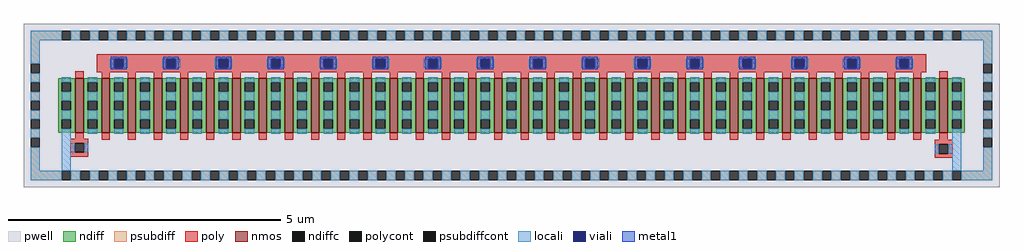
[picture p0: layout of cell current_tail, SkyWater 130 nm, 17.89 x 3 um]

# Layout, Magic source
magic
tech sky130A
magscale 1 2
<< pwell >>
rect -1789 -300 1789 300
<< nmos >>
rect -1599 -100 -1569 100
rect -1503 -100 -1473 100
rect -1407 -100 -1377 100
rect -1311 -100 -1281 100
rect -1215 -100 -1185 100
rect -1119 -100 -1089 100
rect -1023 -100 -993 100
rect -927 -100 -897 100
rect -831 -100 -801 100
rect -735 -100 -705 100
rect -639 -100 -609 100
rect -543 -100 -513 100
rect -447 -100 -417 100
rect -351 -100 -321 100
rect -255 -100 -225 100
rect -159 -100 -129 100
rect -63 -100 -33 100
rect 33 -100 63 100
rect 129 -100 159 100
rect 225 -100 255 100
rect 321 -100 351 100
rect 417 -100 447 100
rect 513 -100 543 100
rect 609 -100 639 100
rect 705 -100 735 100
rect 801 -100 831 100
rect 897 -100 927 100
rect 993 -100 1023 100
rect 1089 -100 1119 100
rect 1185 -100 1215 100
rect 1281 -100 1311 100
rect 1377 -100 1407 100
rect 1473 -100 1503 100
rect 1569 -100 1599 100
<< ndiff >>
rect -1661 85 -1599 100
rect -1661 51 -1649 85
rect -1615 51 -1599 85
rect -1661 17 -1599 51
rect -1661 -17 -1649 17
rect -1615 -17 -1599 17
rect -1661 -51 -1599 -17
rect -1661 -85 -1649 -51
rect -1615 -85 -1599 -51
rect -1661 -100 -1599 -85
rect -1569 85 -1503 100
rect -1569 51 -1553 85
rect -1519 51 -1503 85
rect -1569 17 -1503 51
rect -1569 -17 -1553 17
rect -1519 -17 -1503 17
rect -1569 -51 -1503 -17
rect -1569 -85 -1553 -51
rect -1519 -85 -1503 -51
rect -1569 -100 -1503 -85
rect -1473 85 -1407 100
rect -1473 51 -1457 85
rect -1423 51 -1407 85
rect -1473 17 -1407 51
rect -1473 -17 -1457 17
rect -1423 -17 -1407 17
rect -1473 -51 -1407 -17
rect -1473 -85 -1457 -51
rect -1423 -85 -1407 -51
rect -1473 -100 -1407 -85
rect -1377 85 -1311 100
rect -1377 51 -1361 85
rect -1327 51 -1311 85
rect -1377 17 -1311 51
rect -1377 -17 -1361 17
rect -1327 -17 -1311 17
rect -1377 -51 -1311 -17
rect -1377 -85 -1361 -51
rect -1327 -85 -1311 -51
rect -1377 -100 -1311 -85
rect -1281 85 -1215 100
rect -1281 51 -1265 85
rect -1231 51 -1215 85
rect -1281 17 -1215 51
rect -1281 -17 -1265 17
rect -1231 -17 -1215 17
rect -1281 -51 -1215 -17
rect -1281 -85 -1265 -51
rect -1231 -85 -1215 -51
rect -1281 -100 -1215 -85
rect -1185 85 -1119 100
rect -1185 51 -1169 85
rect -1135 51 -1119 85
rect -1185 17 -1119 51
rect -1185 -17 -1169 17
rect -1135 -17 -1119 17
rect -1185 -51 -1119 -17
rect -1185 -85 -1169 -51
rect -1135 -85 -1119 -51
rect -1185 -100 -1119 -85
rect -1089 85 -1023 100
rect -1089 51 -1073 85
rect -1039 51 -1023 85
rect -1089 17 -1023 51
rect -1089 -17 -1073 17
rect -1039 -17 -1023 17
rect -1089 -51 -1023 -17
rect -1089 -85 -1073 -51
rect -1039 -85 -1023 -51
rect -1089 -100 -1023 -85
rect -993 85 -927 100
rect -993 51 -977 85
rect -943 51 -927 85
rect -993 17 -927 51
rect -993 -17 -977 17
rect -943 -17 -927 17
rect -993 -51 -927 -17
rect -993 -85 -977 -51
rect -943 -85 -927 -51
rect -993 -100 -927 -85
rect -897 85 -831 100
rect -897 51 -881 85
rect -847 51 -831 85
rect -897 17 -831 51
rect -897 -17 -881 17
rect -847 -17 -831 17
rect -897 -51 -831 -17
rect -897 -85 -881 -51
rect -847 -85 -831 -51
rect -897 -100 -831 -85
rect -801 85 -735 100
rect -801 51 -785 85
rect -751 51 -735 85
rect -801 17 -735 51
rect -801 -17 -785 17
rect -751 -17 -735 17
rect -801 -51 -735 -17
rect -801 -85 -785 -51
rect -751 -85 -735 -51
rect -801 -100 -735 -85
rect -705 85 -639 100
rect -705 51 -689 85
rect -655 51 -639 85
rect -705 17 -639 51
rect -705 -17 -689 17
rect -655 -17 -639 17
rect -705 -51 -639 -17
rect -705 -85 -689 -51
rect -655 -85 -639 -51
rect -705 -100 -639 -85
rect -609 85 -543 100
rect -609 51 -593 85
rect -559 51 -543 85
rect -609 17 -543 51
rect -609 -17 -593 17
rect -559 -17 -543 17
rect -609 -51 -543 -17
rect -609 -85 -593 -51
rect -559 -85 -543 -51
rect -609 -100 -543 -85
rect -513 85 -447 100
rect -513 51 -497 85
rect -463 51 -447 85
rect -513 17 -447 51
rect -513 -17 -497 17
rect -463 -17 -447 17
rect -513 -51 -447 -17
rect -513 -85 -497 -51
rect -463 -85 -447 -51
rect -513 -100 -447 -85
rect -417 85 -351 100
rect -417 51 -401 85
rect -367 51 -351 85
rect -417 17 -351 51
rect -417 -17 -401 17
rect -367 -17 -351 17
rect -417 -51 -351 -17
rect -417 -85 -401 -51
rect -367 -85 -351 -51
rect -417 -100 -351 -85
rect -321 85 -255 100
rect -321 51 -305 85
rect -271 51 -255 85
rect -321 17 -255 51
rect -321 -17 -305 17
rect -271 -17 -255 17
rect -321 -51 -255 -17
rect -321 -85 -305 -51
rect -271 -85 -255 -51
rect -321 -100 -255 -85
rect -225 85 -159 100
rect -225 51 -209 85
rect -175 51 -159 85
rect -225 17 -159 51
rect -225 -17 -209 17
rect -175 -17 -159 17
rect -225 -51 -159 -17
rect -225 -85 -209 -51
rect -175 -85 -159 -51
rect -225 -100 -159 -85
rect -129 85 -63 100
rect -129 51 -113 85
rect -79 51 -63 85
rect -129 17 -63 51
rect -129 -17 -113 17
rect -79 -17 -63 17
rect -129 -51 -63 -17
rect -129 -85 -113 -51
rect -79 -85 -63 -51
rect -129 -100 -63 -85
rect -33 85 33 100
rect -33 51 -17 85
rect 17 51 33 85
rect -33 17 33 51
rect -33 -17 -17 17
rect 17 -17 33 17
rect -33 -51 33 -17
rect -33 -85 -17 -51
rect 17 -85 33 -51
rect -33 -100 33 -85
rect 63 85 129 100
rect 63 51 79 85
rect 113 51 129 85
rect 63 17 129 51
rect 63 -17 79 17
rect 113 -17 129 17
rect 63 -51 129 -17
rect 63 -85 79 -51
rect 113 -85 129 -51
rect 63 -100 129 -85
rect 159 85 225 100
rect 159 51 175 85
rect 209 51 225 85
rect 159 17 225 51
rect 159 -17 175 17
rect 209 -17 225 17
rect 159 -51 225 -17
rect 159 -85 175 -51
rect 209 -85 225 -51
rect 159 -100 225 -85
rect 255 85 321 100
rect 255 51 271 85
rect 305 51 321 85
rect 255 17 321 51
rect 255 -17 271 17
rect 305 -17 321 17
rect 255 -51 321 -17
rect 255 -85 271 -51
rect 305 -85 321 -51
rect 255 -100 321 -85
rect 351 85 417 100
rect 351 51 367 85
rect 401 51 417 85
rect 351 17 417 51
rect 351 -17 367 17
rect 401 -17 417 17
rect 351 -51 417 -17
rect 351 -85 367 -51
rect 401 -85 417 -51
rect 351 -100 417 -85
rect 447 85 513 100
rect 447 51 463 85
rect 497 51 513 85
rect 447 17 513 51
rect 447 -17 463 17
rect 497 -17 513 17
rect 447 -51 513 -17
rect 447 -85 463 -51
rect 497 -85 513 -51
rect 447 -100 513 -85
rect 543 85 609 100
rect 543 51 559 85
rect 593 51 609 85
rect 543 17 609 51
rect 543 -17 559 17
rect 593 -17 609 17
rect 543 -51 609 -17
rect 543 -85 559 -51
rect 593 -85 609 -51
rect 543 -100 609 -85
rect 639 85 705 100
rect 639 51 655 85
rect 689 51 705 85
rect 639 17 705 51
rect 639 -17 655 17
rect 689 -17 705 17
rect 639 -51 705 -17
rect 639 -85 655 -51
rect 689 -85 705 -51
rect 639 -100 705 -85
rect 735 85 801 100
rect 735 51 751 85
rect 785 51 801 85
rect 735 17 801 51
rect 735 -17 751 17
rect 785 -17 801 17
rect 735 -51 801 -17
rect 735 -85 751 -51
rect 785 -85 801 -51
rect 735 -100 801 -85
rect 831 85 897 100
rect 831 51 847 85
rect 881 51 897 85
rect 831 17 897 51
rect 831 -17 847 17
rect 881 -17 897 17
rect 831 -51 897 -17
rect 831 -85 847 -51
rect 881 -85 897 -51
rect 831 -100 897 -85
rect 927 85 993 100
rect 927 51 943 85
rect 977 51 993 85
rect 927 17 993 51
rect 927 -17 943 17
rect 977 -17 993 17
rect 927 -51 993 -17
rect 927 -85 943 -51
rect 977 -85 993 -51
rect 927 -100 993 -85
rect 1023 85 1089 100
rect 1023 51 1039 85
rect 1073 51 1089 85
rect 1023 17 1089 51
rect 1023 -17 1039 17
rect 1073 -17 1089 17
rect 1023 -51 1089 -17
rect 1023 -85 1039 -51
rect 1073 -85 1089 -51
rect 1023 -100 1089 -85
rect 1119 85 1185 100
rect 1119 51 1135 85
rect 1169 51 1185 85
rect 1119 17 1185 51
rect 1119 -17 1135 17
rect 1169 -17 1185 17
rect 1119 -51 1185 -17
rect 1119 -85 1135 -51
rect 1169 -85 1185 -51
rect 1119 -100 1185 -85
rect 1215 85 1281 100
rect 1215 51 1231 85
rect 1265 51 1281 85
rect 1215 17 1281 51
rect 1215 -17 1231 17
rect 1265 -17 1281 17
rect 1215 -51 1281 -17
rect 1215 -85 1231 -51
rect 1265 -85 1281 -51
rect 1215 -100 1281 -85
rect 1311 85 1377 100
rect 1311 51 1327 85
rect 1361 51 1377 85
rect 1311 17 1377 51
rect 1311 -17 1327 17
rect 1361 -17 1377 17
rect 1311 -51 1377 -17
rect 1311 -85 1327 -51
rect 1361 -85 1377 -51
rect 1311 -100 1377 -85
rect 1407 85 1473 100
rect 1407 51 1423 85
rect 1457 51 1473 85
rect 1407 17 1473 51
rect 1407 -17 1423 17
rect 1457 -17 1473 17
rect 1407 -51 1473 -17
rect 1407 -85 1423 -51
rect 1457 -85 1473 -51
rect 1407 -100 1473 -85
rect 1503 85 1569 100
rect 1503 51 1519 85
rect 1553 51 1569 85
rect 1503 17 1569 51
rect 1503 -17 1519 17
rect 1553 -17 1569 17
rect 1503 -51 1569 -17
rect 1503 -85 1519 -51
rect 1553 -85 1569 -51
rect 1503 -100 1569 -85
rect 1599 85 1661 100
rect 1599 51 1615 85
rect 1649 51 1661 85
rect 1599 17 1661 51
rect 1599 -17 1615 17
rect 1649 -17 1661 17
rect 1599 -51 1661 -17
rect 1599 -85 1615 -51
rect 1649 -85 1661 -51
rect 1599 -100 1661 -85
<< ndiffc >>
rect -1649 51 -1615 85
rect -1649 -17 -1615 17
rect -1649 -85 -1615 -51
rect -1553 51 -1519 85
rect -1553 -17 -1519 17
rect -1553 -85 -1519 -51
rect -1457 51 -1423 85
rect -1457 -17 -1423 17
rect -1457 -85 -1423 -51
rect -1361 51 -1327 85
rect -1361 -17 -1327 17
rect -1361 -85 -1327 -51
rect -1265 51 -1231 85
rect -1265 -17 -1231 17
rect -1265 -85 -1231 -51
rect -1169 51 -1135 85
rect -1169 -17 -1135 17
rect -1169 -85 -1135 -51
rect -1073 51 -1039 85
rect -1073 -17 -1039 17
rect -1073 -85 -1039 -51
rect -977 51 -943 85
rect -977 -17 -943 17
rect -977 -85 -943 -51
rect -881 51 -847 85
rect -881 -17 -847 17
rect -881 -85 -847 -51
rect -785 51 -751 85
rect -785 -17 -751 17
rect -785 -85 -751 -51
rect -689 51 -655 85
rect -689 -17 -655 17
rect -689 -85 -655 -51
rect -593 51 -559 85
rect -593 -17 -559 17
rect -593 -85 -559 -51
rect -497 51 -463 85
rect -497 -17 -463 17
rect -497 -85 -463 -51
rect -401 51 -367 85
rect -401 -17 -367 17
rect -401 -85 -367 -51
rect -305 51 -271 85
rect -305 -17 -271 17
rect -305 -85 -271 -51
rect -209 51 -175 85
rect -209 -17 -175 17
rect -209 -85 -175 -51
rect -113 51 -79 85
rect -113 -17 -79 17
rect -113 -85 -79 -51
rect -17 51 17 85
rect -17 -17 17 17
rect -17 -85 17 -51
rect 79 51 113 85
rect 79 -17 113 17
rect 79 -85 113 -51
rect 175 51 209 85
rect 175 -17 209 17
rect 175 -85 209 -51
rect 271 51 305 85
rect 271 -17 305 17
rect 271 -85 305 -51
rect 367 51 401 85
rect 367 -17 401 17
rect 367 -85 401 -51
rect 463 51 497 85
rect 463 -17 497 17
rect 463 -85 497 -51
rect 559 51 593 85
rect 559 -17 593 17
rect 559 -85 593 -51
rect 655 51 689 85
rect 655 -17 689 17
rect 655 -85 689 -51
rect 751 51 785 85
rect 751 -17 785 17
rect 751 -85 785 -51
rect 847 51 881 85
rect 847 -17 881 17
rect 847 -85 881 -51
rect 943 51 977 85
rect 943 -17 977 17
rect 943 -85 977 -51
rect 1039 51 1073 85
rect 1039 -17 1073 17
rect 1039 -85 1073 -51
rect 1135 51 1169 85
rect 1135 -17 1169 17
rect 1135 -85 1169 -51
rect 1231 51 1265 85
rect 1231 -17 1265 17
rect 1231 -85 1265 -51
rect 1327 51 1361 85
rect 1327 -17 1361 17
rect 1327 -85 1361 -51
rect 1423 51 1457 85
rect 1423 -17 1457 17
rect 1423 -85 1457 -51
rect 1519 51 1553 85
rect 1519 -17 1553 17
rect 1519 -85 1553 -51
rect 1615 51 1649 85
rect 1615 -17 1649 17
rect 1615 -85 1649 -51
<< psubdiff >>
rect -1763 240 -1649 274
rect -1615 240 -1581 274
rect -1547 240 -1513 274
rect -1479 240 -1445 274
rect -1411 240 -1377 274
rect -1343 240 -1309 274
rect -1275 240 -1241 274
rect -1207 240 -1173 274
rect -1139 240 -1105 274
rect -1071 240 -1037 274
rect -1003 240 -969 274
rect -935 240 -901 274
rect -867 240 -833 274
rect -799 240 -765 274
rect -731 240 -697 274
rect -663 240 -629 274
rect -595 240 -561 274
rect -527 240 -493 274
rect -459 240 -425 274
rect -391 240 -357 274
rect -323 240 -289 274
rect -255 240 -221 274
rect -187 240 -153 274
rect -119 240 -85 274
rect -51 240 -17 274
rect 17 240 51 274
rect 85 240 119 274
rect 153 240 187 274
rect 221 240 255 274
rect 289 240 323 274
rect 357 240 391 274
rect 425 240 459 274
rect 493 240 527 274
rect 561 240 595 274
rect 629 240 663 274
rect 697 240 731 274
rect 765 240 799 274
rect 833 240 867 274
rect 901 240 935 274
rect 969 240 1003 274
rect 1037 240 1071 274
rect 1105 240 1139 274
rect 1173 240 1207 274
rect 1241 240 1275 274
rect 1309 240 1343 274
rect 1377 240 1411 274
rect 1445 240 1479 274
rect 1513 240 1547 274
rect 1581 240 1615 274
rect 1649 240 1763 274
rect -1763 153 -1729 240
rect -1763 85 -1729 119
rect 1729 153 1763 240
rect -1763 17 -1729 51
rect -1763 -51 -1729 -17
rect -1763 -119 -1729 -85
rect 1729 85 1763 119
rect 1729 17 1763 51
rect 1729 -51 1763 -17
rect -1763 -240 -1729 -153
rect 1729 -119 1763 -85
rect 1729 -240 1763 -153
rect -1763 -274 -1649 -240
rect -1615 -274 -1581 -240
rect -1547 -274 -1513 -240
rect -1479 -274 -1445 -240
rect -1411 -274 -1377 -240
rect -1343 -274 -1309 -240
rect -1275 -274 -1241 -240
rect -1207 -274 -1173 -240
rect -1139 -274 -1105 -240
rect -1071 -274 -1037 -240
rect -1003 -274 -969 -240
rect -935 -274 -901 -240
rect -867 -274 -833 -240
rect -799 -274 -765 -240
rect -731 -274 -697 -240
rect -663 -274 -629 -240
rect -595 -274 -561 -240
rect -527 -274 -493 -240
rect -459 -274 -425 -240
rect -391 -274 -357 -240
rect -323 -274 -289 -240
rect -255 -274 -221 -240
rect -187 -274 -153 -240
rect -119 -274 -85 -240
rect -51 -274 -17 -240
rect 17 -274 51 -240
rect 85 -274 119 -240
rect 153 -274 187 -240
rect 221 -274 255 -240
rect 289 -274 323 -240
rect 357 -274 391 -240
rect 425 -274 459 -240
rect 493 -274 527 -240
rect 561 -274 595 -240
rect 629 -274 663 -240
rect 697 -274 731 -240
rect 765 -274 799 -240
rect 833 -274 867 -240
rect 901 -274 935 -240
rect 969 -274 1003 -240
rect 1037 -274 1071 -240
rect 1105 -274 1139 -240
rect 1173 -274 1207 -240
rect 1241 -274 1275 -240
rect 1309 -274 1343 -240
rect 1377 -274 1411 -240
rect 1445 -274 1479 -240
rect 1513 -274 1547 -240
rect 1581 -274 1615 -240
rect 1649 -274 1763 -240
<< psubdiffcont >>
rect -1649 240 -1615 274
rect -1581 240 -1547 274
rect -1513 240 -1479 274
rect -1445 240 -1411 274
rect -1377 240 -1343 274
rect -1309 240 -1275 274
rect -1241 240 -1207 274
rect -1173 240 -1139 274
rect -1105 240 -1071 274
rect -1037 240 -1003 274
rect -969 240 -935 274
rect -901 240 -867 274
rect -833 240 -799 274
rect -765 240 -731 274
rect -697 240 -663 274
rect -629 240 -595 274
rect -561 240 -527 274
rect -493 240 -459 274
rect -425 240 -391 274
rect -357 240 -323 274
rect -289 240 -255 274
rect -221 240 -187 274
rect -153 240 -119 274
rect -85 240 -51 274
rect -17 240 17 274
rect 51 240 85 274
rect 119 240 153 274
rect 187 240 221 274
rect 255 240 289 274
rect 323 240 357 274
rect 391 240 425 274
rect 459 240 493 274
rect 527 240 561 274
rect 595 240 629 274
rect 663 240 697 274
rect 731 240 765 274
rect 799 240 833 274
rect 867 240 901 274
rect 935 240 969 274
rect 1003 240 1037 274
rect 1071 240 1105 274
rect 1139 240 1173 274
rect 1207 240 1241 274
rect 1275 240 1309 274
rect 1343 240 1377 274
rect 1411 240 1445 274
rect 1479 240 1513 274
rect 1547 240 1581 274
rect 1615 240 1649 274
rect -1763 119 -1729 153
rect 1729 119 1763 153
rect -1763 51 -1729 85
rect -1763 -17 -1729 17
rect -1763 -85 -1729 -51
rect 1729 51 1763 85
rect 1729 -17 1763 17
rect 1729 -85 1763 -51
rect -1763 -153 -1729 -119
rect 1729 -153 1763 -119
rect -1649 -274 -1615 -240
rect -1581 -274 -1547 -240
rect -1513 -274 -1479 -240
rect -1445 -274 -1411 -240
rect -1377 -274 -1343 -240
rect -1309 -274 -1275 -240
rect -1241 -274 -1207 -240
rect -1173 -274 -1139 -240
rect -1105 -274 -1071 -240
rect -1037 -274 -1003 -240
rect -969 -274 -935 -240
rect -901 -274 -867 -240
rect -833 -274 -799 -240
rect -765 -274 -731 -240
rect -697 -274 -663 -240
rect -629 -274 -595 -240
rect -561 -274 -527 -240
rect -493 -274 -459 -240
rect -425 -274 -391 -240
rect -357 -274 -323 -240
rect -289 -274 -255 -240
rect -221 -274 -187 -240
rect -153 -274 -119 -240
rect -85 -274 -51 -240
rect -17 -274 17 -240
rect 51 -274 85 -240
rect 119 -274 153 -240
rect 187 -274 221 -240
rect 255 -274 289 -240
rect 323 -274 357 -240
rect 391 -274 425 -240
rect 459 -274 493 -240
rect 527 -274 561 -240
rect 595 -274 629 -240
rect 663 -274 697 -240
rect 731 -274 765 -240
rect 799 -274 833 -240
rect 867 -274 901 -240
rect 935 -274 969 -240
rect 1003 -274 1037 -240
rect 1071 -274 1105 -240
rect 1139 -274 1173 -240
rect 1207 -274 1241 -240
rect 1275 -274 1309 -240
rect 1343 -274 1377 -240
rect 1411 -274 1445 -240
rect 1479 -274 1513 -240
rect 1547 -274 1581 -240
rect 1615 -274 1649 -240
<< poly >>
rect -1521 172 1521 188
rect -1521 138 -1457 172
rect -1423 138 -1265 172
rect -1231 138 -1073 172
rect -1039 138 -881 172
rect -847 138 -689 172
rect -655 138 -497 172
rect -463 138 -305 172
rect -271 138 -113 172
rect -79 138 79 172
rect 113 138 271 172
rect 305 138 463 172
rect 497 138 655 172
rect 689 138 847 172
rect 881 138 1039 172
rect 1073 138 1231 172
rect 1265 138 1423 172
rect 1457 138 1521 172
rect -1599 100 -1569 126
rect -1521 122 1521 138
rect -1503 100 -1473 122
rect -1407 100 -1377 122
rect -1311 100 -1281 122
rect -1215 100 -1185 122
rect -1119 100 -1089 122
rect -1023 100 -993 122
rect -927 100 -897 122
rect -831 100 -801 122
rect -735 100 -705 122
rect -639 100 -609 122
rect -543 100 -513 122
rect -447 100 -417 122
rect -351 100 -321 122
rect -255 100 -225 122
rect -159 100 -129 122
rect -63 100 -33 122
rect 33 100 63 122
rect 129 100 159 122
rect 225 100 255 122
rect 321 100 351 122
rect 417 100 447 122
rect 513 100 543 122
rect 609 100 639 122
rect 705 100 735 122
rect 801 100 831 122
rect 897 100 927 122
rect 993 100 1023 122
rect 1089 100 1119 122
rect 1185 100 1215 122
rect 1281 100 1311 122
rect 1377 100 1407 122
rect 1473 100 1503 122
rect 1569 100 1599 126
rect -1599 -122 -1569 -100
rect -1617 -138 -1551 -122
rect -1503 -126 -1473 -100
rect -1407 -126 -1377 -100
rect -1311 -126 -1281 -100
rect -1215 -126 -1185 -100
rect -1119 -126 -1089 -100
rect -1023 -126 -993 -100
rect -927 -126 -897 -100
rect -831 -126 -801 -100
rect -735 -126 -705 -100
rect -639 -126 -609 -100
rect -543 -126 -513 -100
rect -447 -126 -417 -100
rect -351 -126 -321 -100
rect -255 -126 -225 -100
rect -159 -126 -129 -100
rect -63 -126 -33 -100
rect 33 -126 63 -100
rect 129 -126 159 -100
rect 225 -126 255 -100
rect 321 -126 351 -100
rect 417 -126 447 -100
rect 513 -126 543 -100
rect 609 -126 639 -100
rect 705 -126 735 -100
rect 801 -126 831 -100
rect 897 -126 927 -100
rect 993 -126 1023 -100
rect 1089 -126 1119 -100
rect 1185 -126 1215 -100
rect 1281 -126 1311 -100
rect 1377 -126 1407 -100
rect 1473 -126 1503 -100
rect 1569 -126 1599 -100
rect -1617 -172 -1601 -138
rect -1567 -172 -1551 -138
rect -1617 -188 -1551 -172
rect 1551 -142 1617 -126
rect 1551 -176 1567 -142
rect 1601 -176 1617 -142
rect 1551 -192 1617 -176
<< polycont >>
rect -1457 138 -1423 172
rect -1265 138 -1231 172
rect -1073 138 -1039 172
rect -881 138 -847 172
rect -689 138 -655 172
rect -497 138 -463 172
rect -305 138 -271 172
rect -113 138 -79 172
rect 79 138 113 172
rect 271 138 305 172
rect 463 138 497 172
rect 655 138 689 172
rect 847 138 881 172
rect 1039 138 1073 172
rect 1231 138 1265 172
rect 1423 138 1457 172
rect -1601 -172 -1567 -138
rect 1567 -176 1601 -142
<< locali >>
rect -1763 240 -1649 274
rect -1615 240 -1581 274
rect -1547 240 -1513 274
rect -1479 240 -1445 274
rect -1411 240 -1377 274
rect -1343 240 -1309 274
rect -1275 240 -1241 274
rect -1207 240 -1173 274
rect -1139 240 -1105 274
rect -1071 240 -1037 274
rect -1003 240 -969 274
rect -935 240 -901 274
rect -867 240 -833 274
rect -799 240 -765 274
rect -731 240 -697 274
rect -663 240 -629 274
rect -595 240 -561 274
rect -527 240 -493 274
rect -459 240 -425 274
rect -391 240 -357 274
rect -323 240 -289 274
rect -255 240 -221 274
rect -187 240 -153 274
rect -119 240 -85 274
rect -51 240 -17 274
rect 17 240 51 274
rect 85 240 119 274
rect 153 240 187 274
rect 221 240 255 274
rect 289 240 323 274
rect 357 240 391 274
rect 425 240 459 274
rect 493 240 527 274
rect 561 240 595 274
rect 629 240 663 274
rect 697 240 731 274
rect 765 240 799 274
rect 833 240 867 274
rect 901 240 935 274
rect 969 240 1003 274
rect 1037 240 1071 274
rect 1105 240 1139 274
rect 1173 240 1207 274
rect 1241 240 1275 274
rect 1309 240 1343 274
rect 1377 240 1411 274
rect 1445 240 1479 274
rect 1513 240 1547 274
rect 1581 240 1615 274
rect 1649 240 1763 274
rect -1763 153 -1729 240
rect -1473 138 -1457 172
rect -1423 138 -1407 172
rect -1281 138 -1265 172
rect -1231 138 -1215 172
rect -1089 138 -1073 172
rect -1039 138 -1023 172
rect -897 138 -881 172
rect -847 138 -831 172
rect -705 138 -689 172
rect -655 138 -639 172
rect -513 138 -497 172
rect -463 138 -447 172
rect -321 138 -305 172
rect -271 138 -255 172
rect -129 138 -113 172
rect -79 138 -63 172
rect 63 138 79 172
rect 113 138 129 172
rect 255 138 271 172
rect 305 138 321 172
rect 447 138 463 172
rect 497 138 513 172
rect 639 138 655 172
rect 689 138 705 172
rect 831 138 847 172
rect 881 138 897 172
rect 1023 138 1039 172
rect 1073 138 1089 172
rect 1215 138 1231 172
rect 1265 138 1281 172
rect 1407 138 1423 172
rect 1457 138 1473 172
rect 1729 153 1763 240
rect -1763 85 -1729 119
rect -1763 17 -1729 51
rect -1763 -51 -1729 -17
rect -1763 -119 -1729 -85
rect -1763 -240 -1729 -153
rect -1649 85 -1615 104
rect -1649 17 -1615 51
rect -1649 -51 -1615 -17
rect -1649 -138 -1615 -85
rect -1553 85 -1519 104
rect -1553 17 -1519 51
rect -1553 -51 -1519 -17
rect -1553 -104 -1519 -85
rect -1457 85 -1423 104
rect -1457 17 -1423 51
rect -1457 -51 -1423 -17
rect -1457 -104 -1423 -85
rect -1361 85 -1327 104
rect -1361 17 -1327 51
rect -1361 -51 -1327 -17
rect -1361 -104 -1327 -85
rect -1265 85 -1231 104
rect -1265 17 -1231 51
rect -1265 -51 -1231 -17
rect -1265 -104 -1231 -85
rect -1169 85 -1135 104
rect -1169 17 -1135 51
rect -1169 -51 -1135 -17
rect -1169 -104 -1135 -85
rect -1073 85 -1039 104
rect -1073 17 -1039 51
rect -1073 -51 -1039 -17
rect -1073 -104 -1039 -85
rect -977 85 -943 104
rect -977 17 -943 51
rect -977 -51 -943 -17
rect -977 -104 -943 -85
rect -881 85 -847 104
rect -881 17 -847 51
rect -881 -51 -847 -17
rect -881 -104 -847 -85
rect -785 85 -751 104
rect -785 17 -751 51
rect -785 -51 -751 -17
rect -785 -104 -751 -85
rect -689 85 -655 104
rect -689 17 -655 51
rect -689 -51 -655 -17
rect -689 -104 -655 -85
rect -593 85 -559 104
rect -593 17 -559 51
rect -593 -51 -559 -17
rect -593 -104 -559 -85
rect -497 85 -463 104
rect -497 17 -463 51
rect -497 -51 -463 -17
rect -497 -104 -463 -85
rect -401 85 -367 104
rect -401 17 -367 51
rect -401 -51 -367 -17
rect -401 -104 -367 -85
rect -305 85 -271 104
rect -305 17 -271 51
rect -305 -51 -271 -17
rect -305 -104 -271 -85
rect -209 85 -175 104
rect -209 17 -175 51
rect -209 -51 -175 -17
rect -209 -104 -175 -85
rect -113 85 -79 104
rect -113 17 -79 51
rect -113 -51 -79 -17
rect -113 -104 -79 -85
rect -17 85 17 104
rect -17 17 17 51
rect -17 -51 17 -17
rect -17 -104 17 -85
rect 79 85 113 104
rect 79 17 113 51
rect 79 -51 113 -17
rect 79 -104 113 -85
rect 175 85 209 104
rect 175 17 209 51
rect 175 -51 209 -17
rect 175 -104 209 -85
rect 271 85 305 104
rect 271 17 305 51
rect 271 -51 305 -17
rect 271 -104 305 -85
rect 367 85 401 104
rect 367 17 401 51
rect 367 -51 401 -17
rect 367 -104 401 -85
rect 463 85 497 104
rect 463 17 497 51
rect 463 -51 497 -17
rect 463 -104 497 -85
rect 559 85 593 104
rect 559 17 593 51
rect 559 -51 593 -17
rect 559 -104 593 -85
rect 655 85 689 104
rect 655 17 689 51
rect 655 -51 689 -17
rect 655 -104 689 -85
rect 751 85 785 104
rect 751 17 785 51
rect 751 -51 785 -17
rect 751 -104 785 -85
rect 847 85 881 104
rect 847 17 881 51
rect 847 -51 881 -17
rect 847 -104 881 -85
rect 943 85 977 104
rect 943 17 977 51
rect 943 -51 977 -17
rect 943 -104 977 -85
rect 1039 85 1073 104
rect 1039 17 1073 51
rect 1039 -51 1073 -17
rect 1039 -104 1073 -85
rect 1135 85 1169 104
rect 1135 17 1169 51
rect 1135 -51 1169 -17
rect 1135 -104 1169 -85
rect 1231 85 1265 104
rect 1231 17 1265 51
rect 1231 -51 1265 -17
rect 1231 -104 1265 -85
rect 1327 85 1361 104
rect 1327 17 1361 51
rect 1327 -51 1361 -17
rect 1327 -104 1361 -85
rect 1423 85 1457 104
rect 1423 17 1457 51
rect 1423 -51 1457 -17
rect 1423 -104 1457 -85
rect 1519 85 1553 104
rect 1519 17 1553 51
rect 1519 -51 1553 -17
rect 1519 -104 1553 -85
rect 1615 85 1649 104
rect 1615 17 1649 51
rect 1615 -51 1649 -17
rect -1649 -172 -1601 -138
rect -1567 -172 -1551 -138
rect 1615 -142 1649 -85
rect -1649 -240 -1615 -172
rect 1551 -176 1567 -142
rect 1601 -176 1649 -142
rect 1615 -240 1649 -176
rect 1729 85 1763 119
rect 1729 17 1763 51
rect 1729 -51 1763 -17
rect 1729 -119 1763 -85
rect 1729 -240 1763 -153
rect -1763 -274 -1649 -240
rect -1615 -274 -1581 -240
rect -1547 -274 -1513 -240
rect -1479 -274 -1445 -240
rect -1411 -274 -1377 -240
rect -1343 -274 -1309 -240
rect -1275 -274 -1241 -240
rect -1207 -274 -1173 -240
rect -1139 -274 -1105 -240
rect -1071 -274 -1037 -240
rect -1003 -274 -969 -240
rect -935 -274 -901 -240
rect -867 -274 -833 -240
rect -799 -274 -765 -240
rect -731 -274 -697 -240
rect -663 -274 -629 -240
rect -595 -274 -561 -240
rect -527 -274 -493 -240
rect -459 -274 -425 -240
rect -391 -274 -357 -240
rect -323 -274 -289 -240
rect -255 -274 -221 -240
rect -187 -274 -153 -240
rect -119 -274 -85 -240
rect -51 -274 -17 -240
rect 17 -274 51 -240
rect 85 -274 119 -240
rect 153 -274 187 -240
rect 221 -274 255 -240
rect 289 -274 323 -240
rect 357 -274 391 -240
rect 425 -274 459 -240
rect 493 -274 527 -240
rect 561 -274 595 -240
rect 629 -274 663 -240
rect 697 -274 731 -240
rect 765 -274 799 -240
rect 833 -274 867 -240
rect 901 -274 935 -240
rect 969 -274 1003 -240
rect 1037 -274 1071 -240
rect 1105 -274 1139 -240
rect 1173 -274 1207 -240
rect 1241 -274 1275 -240
rect 1309 -274 1343 -240
rect 1377 -274 1411 -240
rect 1445 -274 1479 -240
rect 1513 -274 1547 -240
rect 1581 -274 1615 -240
rect 1649 -274 1763 -240
<< viali >>
rect -1457 138 -1423 172
rect -1265 138 -1231 172
rect -1073 138 -1039 172
rect -881 138 -847 172
rect -689 138 -655 172
rect -497 138 -463 172
rect -305 138 -271 172
rect -113 138 -79 172
rect 79 138 113 172
rect 271 138 305 172
rect 463 138 497 172
rect 655 138 689 172
rect 847 138 881 172
rect 1039 138 1073 172
rect 1231 138 1265 172
rect 1423 138 1457 172
<< metal1 >>
rect -1469 172 -1411 178
rect -1469 138 -1457 172
rect -1423 138 -1411 172
rect -1469 132 -1411 138
rect -1277 172 -1219 178
rect -1277 138 -1265 172
rect -1231 138 -1219 172
rect -1277 132 -1219 138
rect -1085 172 -1027 178
rect -1085 138 -1073 172
rect -1039 138 -1027 172
rect -1085 132 -1027 138
rect -893 172 -835 178
rect -893 138 -881 172
rect -847 138 -835 172
rect -893 132 -835 138
rect -701 172 -643 178
rect -701 138 -689 172
rect -655 138 -643 172
rect -701 132 -643 138
rect -509 172 -451 178
rect -509 138 -497 172
rect -463 138 -451 172
rect -509 132 -451 138
rect -317 172 -259 178
rect -317 138 -305 172
rect -271 138 -259 172
rect -317 132 -259 138
rect -125 172 -67 178
rect -125 138 -113 172
rect -79 138 -67 172
rect -125 132 -67 138
rect 67 172 125 178
rect 67 138 79 172
rect 113 138 125 172
rect 67 132 125 138
rect 259 172 317 178
rect 259 138 271 172
rect 305 138 317 172
rect 259 132 317 138
rect 451 172 509 178
rect 451 138 463 172
rect 497 138 509 172
rect 451 132 509 138
rect 643 172 701 178
rect 643 138 655 172
rect 689 138 701 172
rect 643 132 701 138
rect 835 172 893 178
rect 835 138 847 172
rect 881 138 893 172
rect 835 132 893 138
rect 1027 172 1085 178
rect 1027 138 1039 172
rect 1073 138 1085 172
rect 1027 132 1085 138
rect 1219 172 1277 178
rect 1219 138 1231 172
rect 1265 138 1277 172
rect 1219 132 1277 138
rect 1411 172 1469 178
rect 1411 138 1423 172
rect 1457 138 1469 172
rect 1411 132 1469 138
<< properties >>
string FIXED_BBOX -1746 -256 1746 256
<< end >>
